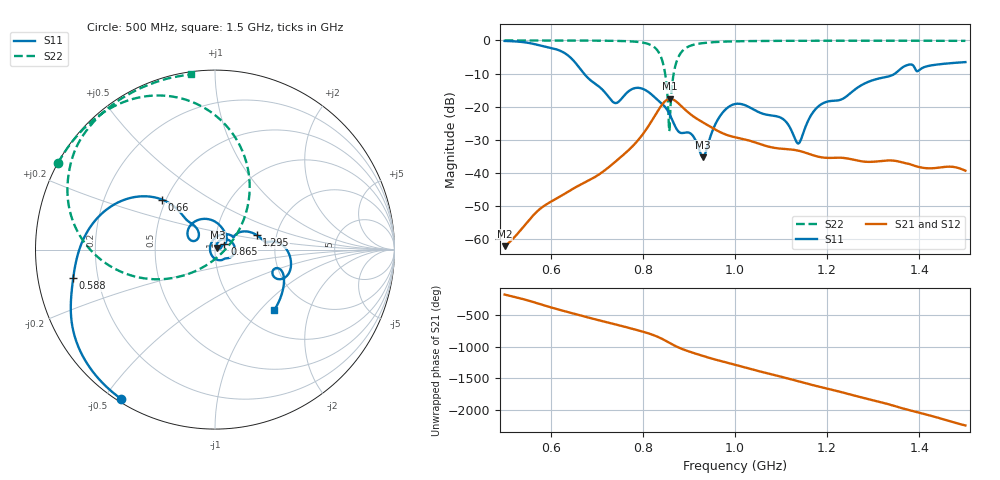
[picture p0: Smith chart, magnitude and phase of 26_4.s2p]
! TOUCHSTONE file generated by CST MICROWAVE STUDIO
! Date and time: Wed Oct 28 19:18:18 2020
! Project name: Scenario_1_Circular_Tissue_out_of_Line.cst
! Parameters = {dy1=87.525; L_HA=400; MT=2.54; Rad_Dielectric=30; Rad_Lower=7.3; Rad_Upper=30; a_HA=580; a_WG=246; b_HA=500; b_WG=121; c_HA=0; c_WG=187; d_feed=85; dx1=693; h_feed=15; h_lower=18; h_upper=40}
! Header version: 2018
! Port assignment regex: !\s*Touchstone port\s*([0-9]+)\s*=\s*(CST MWS port|CST DS port)\s*([0-9]+|Zmin|Zmax)\s*\(\"(.*)\"\)(\s*mode\s*([0-9]+))?.*
! Touchstone port assignment:
! Touchstone port 1 = CST MWS port 1 ("")
! Touchstone port 2 = CST MWS port 2 ("")
# GHz S DB R 50
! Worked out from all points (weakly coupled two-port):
!   1001 points, 500 MHz to 1.5 GHz, reference 50 ohm
!   highest |S21| = -17.61 dB at 859 MHz (marker M1); lowest = -62.1 dB at 500 MHz (marker M2)
!   lowest |S11| = -35.2 dB at 930 MHz (marker M3), VSWR 1.04, Z = 51.4 + j1.06 ohm
!   |S11| at or under -10 dB: 672.3 MHz to 1.347 GHz (674.9 MHz wide, 66.8 % of centre)
!   |S22| runs from -27.4 to 0.0 dB; largest |S21 - S12| = 8.7e-06
!   S11 on the Smith chart (normalised r, x): 500 MHz: 0.01, -0.55; 588 MHz: 0.11, -0.10; 660 MHz: 0.48, +0.32; 865 MHz: 1.11, +0.07; 1.295 GHz: 1.58, +0.27; 1.5 GHz: 1.39, -1.20
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0.5  -0.15 -122.3  -62.05 -168.1  -62.05 -168.1  -0.01 151.1
0.588  -1.87 -168.6  -49.68 14.6  -49.68 14.6  -0.02 145.0
0.66  -7.83 136.6  -43.84 -132.7  -43.84 -132.8  -0.04 139.0
0.667  -9.08 134.1  -43.34 -146.6  -43.34 -146.6  -0.04 138.3
0.738  -18.80 143.3  -36.85 82.6  -36.85 82.6  -0.13 129.6
0.779  -14.53 142.3  -31.73 3.5  -31.73 3.5  -0.33 120.5
0.834  -18.18 69.6  -20.94 -126.5  -20.94 -126.5  -3.49 82.7
0.847  -19.86 52.2  -18.49 -173.3  -18.49 -173.3  -8.91 57.7
0.854  -21.21 41.3  -17.77 158.6  -17.77 158.6  -17.86 31.5
0.859  -22.52 34.5  -17.61 138.2  -17.61 138.2  -23.22 -105.0
0.865  -24.37 29.3  -17.78 114.3  -17.78 114.3  -11.73 -143.8
0.874  -26.88 29.8  -18.60 81.3  -18.60 81.3  -6.08 -163.5
0.889  -27.87 35.5  -20.54 34.9  -20.54 34.9  -2.75 176.9
0.93  -35.24 36.5  -24.69 -64.1  -24.69 -64.1  -0.82 154.1
0.965  -23.35 55.3  -27.46 -138.3  -27.46 -138.3  -0.43 145.8
1  -19.18 8.6  -29.20 154.8  -29.20 154.8  -0.26 140.2
1.102  -23.51 -62.8  -32.67 -39.4  -32.67 -39.4  -0.12 129.5
1.137  -31.08 -173.8  -33.24 -108.3  -33.24 -108.3  -0.11 126.6
1.167  -22.13 77.7  -34.53 -166.2  -34.53 -166.2  -0.09 124.2
1.295  -12.19 19.3  -36.63 -40.6  -36.63 -40.6  -0.08 114.4
1.334  -10.83 8.2  -36.20 -115.9  -36.20 -115.9  -0.09 111.4
1.5  -6.53 -45.4  -39.28 -91.4  -39.28 -91.5  -0.13 97.9
